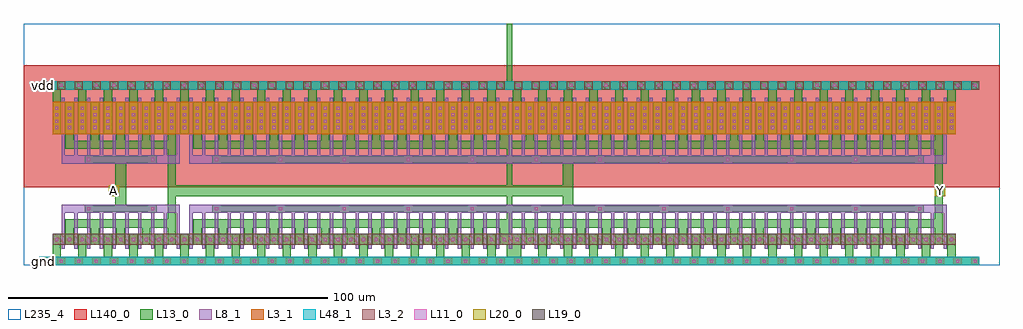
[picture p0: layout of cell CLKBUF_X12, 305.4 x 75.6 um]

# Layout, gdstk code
import gdstk
lib = gdstk.Library(unit=1e-6, precision=1e-09)
def R(c, l, rs):  # rectangles x0, y0, x1, y1
    for r in rs: c.add(gdstk.rectangle(r[:2], r[2:], *l))
def A(c, l, x, y, w, h, nx, ny, dx, dy):  # array of equal rectangles
    R(c, l, [(x+i*dx, y+j*dy, x+i*dx+w, y+j*dy+h) for i in range(nx) for j in range(ny)])
def P(c, l, *ps):  # polygons
    for p in ps: c.add(gdstk.Polygon(p, *l))
L3_1 = (3, 1)
L3_2 = (3, 2)
L8_1 = (8, 1)
L11_0 = (11, 0)
L13_0 = (13, 0)
L19_0 = (19, 0)
L20_0 = (20, 0)
L48_1 = (48, 1)
L140_0 = (140, 0)
L235_4 = (235, 4)

clkbuf_x12 = lib.new_cell('CLKBUF_X12')
A(clkbuf_x12, L3_1, 5, 0, 2.6, 2.6, 54, 1, 5.5, 0)
R(clkbuf_x12, L3_1, [(9.1,41,291.7,51.2)])
A(clkbuf_x12, L3_2, 5, 55, 2.6, 2.6, 54, 1, 5.5, 0)
R(clkbuf_x12, L3_2, [(9.1,6.4,291.7,9.8)])
P(clkbuf_x12, L8_1, [(11.9,5.2),(11.9,19),(48.9,19),(48.9,5.2),(47.9,5.2),(47.9,16.4),(44.9,16.4),(44.9,5.2),(43.9,5.2),(43.9,16.4),(40.9,16.4),(40.9,5.2),(39.9,5.2),(39.9,16.4),(36.9,16.4),(36.9,5.2),(35.9,5.2),(35.9,16.4),(32.9,16.4),(32.9,5.2),(31.9,5.2),(31.9,16.4),(28.9,16.4),(28.9,5.2),(27.9,5.2),(27.9,16.4),(24.9,16.4),(24.9,5.2),(23.9,5.2),(23.9,16.4),(20.9,16.4),(20.9,5.2),(19.9,5.2),(19.9,16.4),(16.9,16.4),(16.9,5.2),(15.9,5.2),(15.9,16.4),(12.9,16.4),(12.9,5.2)],
  [(51.9,5.2),(51.9,19),(288.9,19),(288.9,5.2),(287.9,5.2),(287.9,16.4),(284.9,16.4),(284.9,5.2),(283.9,5.2),(283.9,16.4),(280.9,16.4),(280.9,5.2),(279.9,5.2),(279.9,16.4),(276.9,16.4),(276.9,5.2),(275.9,5.2),(275.9,16.4),(272.9,16.4),(272.9,5.2),(271.9,5.2),(271.9,16.4),(268.9,16.4),(268.9,5.2),(267.9,5.2),(267.9,16.4),(264.9,16.4),(264.9,5.2),(263.9,5.2),(263.9,16.4),(260.9,16.4),(260.9,5.2),(259.9,5.2),(259.9,16.4),(256.9,16.4),(256.9,5.2),(255.9,5.2),(255.9,16.4),(252.9,16.4),(252.9,5.2),(251.9,5.2),(251.9,16.4),(248.9,16.4),(248.9,5.2),(247.9,5.2),(247.9,16.4),(244.9,16.4),(244.9,5.2),(243.9,5.2),(243.9,16.4),(240.9,16.4),(240.9,5.2),(239.9,5.2),(239.9,16.4),(236.9,16.4),(236.9,5.2),(235.9,5.2),(235.9,16.4),(232.9,16.4),(232.9,5.2),(231.9,5.2),(231.9,16.4),(228.9,16.4),(228.9,5.2),(227.9,5.2),(227.9,16.4),(224.9,16.4),(224.9,5.2),(223.9,5.2),(223.9,16.4),(220.9,16.4),(220.9,5.2),(219.9,5.2),(219.9,16.4),(216.9,16.4),(216.9,5.2),(215.9,5.2),(215.9,16.4),(212.9,16.4),(212.9,5.2),(211.9,5.2),(211.9,16.4),(208.9,16.4),(208.9,5.2),(207.9,5.2),(207.9,16.4),(204.9,16.4),(204.9,5.2),(203.9,5.2),(203.9,16.4),(200.9,16.4),(200.9,5.2),(199.9,5.2),(199.9,16.4),(196.9,16.4),(196.9,5.2),(195.9,5.2),(195.9,16.4),(192.9,16.4),(192.9,5.2),(191.9,5.2),(191.9,16.4),(188.9,16.4),(188.9,5.2),(187.9,5.2),(187.9,16.4),(184.9,16.4),(184.9,5.2),(183.9,5.2),(183.9,16.4),(180.9,16.4),(180.9,5.2),(179.9,5.2),(179.9,16.4),(176.9,16.4),(176.9,5.2),(175.9,5.2),(175.9,16.4),(172.9,16.4),(172.9,5.2),(171.9,5.2),(171.9,16.4),(168.9,16.4),(168.9,5.2),(167.9,5.2),(167.9,16.4),(164.9,16.4),(164.9,5.2),(163.9,5.2),(163.9,16.4),(160.9,16.4),(160.9,5.2),(159.9,5.2),(159.9,16.4),(156.9,16.4),(156.9,5.2),(155.9,5.2),(155.9,16.4),(152.9,16.4),(152.9,5.2),(151.9,5.2),(151.9,16.4),(148.9,16.4),(148.9,5.2),(147.9,5.2),(147.9,16.4),(144.9,16.4),(144.9,5.2),(143.9,5.2),(143.9,16.4),(140.9,16.4),(140.9,5.2),(139.9,5.2),(139.9,16.4),(136.9,16.4),(136.9,5.2),(135.9,5.2),(135.9,16.4),(132.9,16.4),(132.9,5.2),(131.9,5.2),(131.9,16.4),(128.9,16.4),(128.9,5.2),(127.9,5.2),(127.9,16.4),(124.9,16.4),(124.9,5.2),(123.9,5.2),(123.9,16.4),(120.9,16.4),(120.9,5.2),(119.9,5.2),(119.9,16.4),(116.9,16.4),(116.9,5.2),(115.9,5.2),(115.9,16.4),(112.9,16.4),(112.9,5.2),(111.9,5.2),(111.9,16.4),(108.9,16.4),(108.9,5.2),(107.9,5.2),(107.9,16.4),(104.9,16.4),(104.9,5.2),(103.9,5.2),(103.9,16.4),(100.9,16.4),(100.9,5.2),(99.9,5.2),(99.9,16.4),(96.9,16.4),(96.9,5.2),(95.9,5.2),(95.9,16.4),(92.9,16.4),(92.9,5.2),(91.9,5.2),(91.9,16.4),(88.9,16.4),(88.9,5.2),(87.9,5.2),(87.9,16.4),(84.9,16.4),(84.9,5.2),(83.9,5.2),(83.9,16.4),(80.9,16.4),(80.9,5.2),(79.9,5.2),(79.9,16.4),(76.9,16.4),(76.9,5.2),(75.9,5.2),(75.9,16.4),(72.9,16.4),(72.9,5.2),(71.9,5.2),(71.9,16.4),(68.9,16.4),(68.9,5.2),(67.9,5.2),(67.9,16.4),(64.9,16.4),(64.9,5.2),(63.9,5.2),(63.9,16.4),(60.9,16.4),(60.9,5.2),(59.9,5.2),(59.9,16.4),(56.9,16.4),(56.9,5.2),(55.9,5.2),(55.9,16.4),(52.9,16.4),(52.9,5.2)],
  [(11.9,31.8),(11.9,52.4),(12.9,52.4),(12.9,34.4),(15.9,34.4),(15.9,52.4),(16.9,52.4),(16.9,34.4),(19.9,34.4),(19.9,52.4),(20.9,52.4),(20.9,34.4),(23.9,34.4),(23.9,52.4),(24.9,52.4),(24.9,34.4),(27.9,34.4),(27.9,52.4),(28.9,52.4),(28.9,34.4),(31.9,34.4),(31.9,52.4),(32.9,52.4),(32.9,34.4),(35.9,34.4),(35.9,52.4),(36.9,52.4),(36.9,34.4),(39.9,34.4),(39.9,52.4),(40.9,52.4),(40.9,34.4),(43.9,34.4),(43.9,52.4),(44.9,52.4),(44.9,34.4),(47.9,34.4),(47.9,52.4),(48.9,52.4),(48.9,31.8)],
  [(51.9,31.8),(51.9,52.4),(52.9,52.4),(52.9,34.4),(55.9,34.4),(55.9,52.4),(56.9,52.4),(56.9,34.4),(59.9,34.4),(59.9,52.4),(60.9,52.4),(60.9,34.4),(63.9,34.4),(63.9,52.4),(64.9,52.4),(64.9,34.4),(67.9,34.4),(67.9,52.4),(68.9,52.4),(68.9,34.4),(71.9,34.4),(71.9,52.4),(72.9,52.4),(72.9,34.4),(75.9,34.4),(75.9,52.4),(76.9,52.4),(76.9,34.4),(79.9,34.4),(79.9,52.4),(80.9,52.4),(80.9,34.4),(83.9,34.4),(83.9,52.4),(84.9,52.4),(84.9,34.4),(87.9,34.4),(87.9,52.4),(88.9,52.4),(88.9,34.4),(91.9,34.4),(91.9,52.4),(92.9,52.4),(92.9,34.4),(95.9,34.4),(95.9,52.4),(96.9,52.4),(96.9,34.4),(99.9,34.4),(99.9,52.4),(100.9,52.4),(100.9,34.4),(103.9,34.4),(103.9,52.4),(104.9,52.4),(104.9,34.4),(107.9,34.4),(107.9,52.4),(108.9,52.4),(108.9,34.4),(111.9,34.4),(111.9,52.4),(112.9,52.4),(112.9,34.4),(115.9,34.4),(115.9,52.4),(116.9,52.4),(116.9,34.4),(119.9,34.4),(119.9,52.4),(120.9,52.4),(120.9,34.4),(123.9,34.4),(123.9,52.4),(124.9,52.4),(124.9,34.4),(127.9,34.4),(127.9,52.4),(128.9,52.4),(128.9,34.4),(131.9,34.4),(131.9,52.4),(132.9,52.4),(132.9,34.4),(135.9,34.4),(135.9,52.4),(136.9,52.4),(136.9,34.4),(139.9,34.4),(139.9,52.4),(140.9,52.4),(140.9,34.4),(143.9,34.4),(143.9,52.4),(144.9,52.4),(144.9,34.4),(147.9,34.4),(147.9,52.4),(148.9,52.4),(148.9,34.4),(151.9,34.4),(151.9,52.4),(152.9,52.4),(152.9,34.4),(155.9,34.4),(155.9,52.4),(156.9,52.4),(156.9,34.4),(159.9,34.4),(159.9,52.4),(160.9,52.4),(160.9,34.4),(163.9,34.4),(163.9,52.4),(164.9,52.4),(164.9,34.4),(167.9,34.4),(167.9,52.4),(168.9,52.4),(168.9,34.4),(171.9,34.4),(171.9,52.4),(172.9,52.4),(172.9,34.4),(175.9,34.4),(175.9,52.4),(176.9,52.4),(176.9,34.4),(179.9,34.4),(179.9,52.4),(180.9,52.4),(180.9,34.4),(183.9,34.4),(183.9,52.4),(184.9,52.4),(184.9,34.4),(187.9,34.4),(187.9,52.4),(188.9,52.4),(188.9,34.4),(191.9,34.4),(191.9,52.4),(192.9,52.4),(192.9,34.4),(195.9,34.4),(195.9,52.4),(196.9,52.4),(196.9,34.4),(199.9,34.4),(199.9,52.4),(200.9,52.4),(200.9,34.4),(203.9,34.4),(203.9,52.4),(204.9,52.4),(204.9,34.4),(207.9,34.4),(207.9,52.4),(208.9,52.4),(208.9,34.4),(211.9,34.4),(211.9,52.4),(212.9,52.4),(212.9,34.4),(215.9,34.4),(215.9,52.4),(216.9,52.4),(216.9,34.4),(219.9,34.4),(219.9,52.4),(220.9,52.4),(220.9,34.4),(223.9,34.4),(223.9,52.4),(224.9,52.4),(224.9,34.4),(227.9,34.4),(227.9,52.4),(228.9,52.4),(228.9,34.4),(231.9,34.4),(231.9,52.4),(232.9,52.4),(232.9,34.4),(235.9,34.4),(235.9,52.4),(236.9,52.4),(236.9,34.4),(239.9,34.4),(239.9,52.4),(240.9,52.4),(240.9,34.4),(243.9,34.4),(243.9,52.4),(244.9,52.4),(244.9,34.4),(247.9,34.4),(247.9,52.4),(248.9,52.4),(248.9,34.4),(251.9,34.4),(251.9,52.4),(252.9,52.4),(252.9,34.4),(255.9,34.4),(255.9,52.4),(256.9,52.4),(256.9,34.4),(259.9,34.4),(259.9,52.4),(260.9,52.4),(260.9,34.4),(263.9,34.4),(263.9,52.4),(264.9,52.4),(264.9,34.4),(267.9,34.4),(267.9,52.4),(268.9,52.4),(268.9,34.4),(271.9,34.4),(271.9,52.4),(272.9,52.4),(272.9,34.4),(275.9,34.4),(275.9,52.4),(276.9,52.4),(276.9,34.4),(279.9,34.4),(279.9,52.4),(280.9,52.4),(280.9,34.4),(283.9,34.4),(283.9,52.4),(284.9,52.4),(284.9,34.4),(287.9,34.4),(287.9,52.4),(288.9,52.4),(288.9,31.8)])
A(clkbuf_x12, L11_0, 275.3, 0.8, 1, 1, 5, 1, 5.5, 0)
A(clkbuf_x12, L11_0, 9.9, 7.6, 1, 1, 11, 2, 4, 35)
A(clkbuf_x12, L11_0, 49.9, 7.6, 1, 1, 61, 2, 4, 35)
A(clkbuf_x12, L11_0, 79.9, 17.2, 1, 1, 11, 1, 20, 0)
A(clkbuf_x12, L11_0, 19.9, 32.6, 1, 1, 9, 1, 20, 0)
A(clkbuf_x12, L11_0, 199.9, 32.6, 1, 1, 5, 1, 20, 0)
A(clkbuf_x12, L11_0, 9.9, 44.6, 1, 1, 11, 3, 4, 2)
A(clkbuf_x12, L11_0, 49.9, 44.6, 1, 1, 61, 3, 4, 2)
A(clkbuf_x12, L11_0, 5.8, 55.8, 1, 1, 54, 1, 5.5, 0)
R(clkbuf_x12, L11_0, [(5.8,0.8,6.8,1.8), (5.8,0.8,6.8,1.8), (11.3,0.8,12.3,1.8), (11.3,0.8,12.3,1.8), (16.8,0.8,17.8,1.8), (16.8,0.8,17.8,1.8), (22.3,0.8,23.3,1.8), (22.3,0.8,23.3,1.8), (27.8,0.8,28.8,1.8), (27.8,0.8,28.8,1.8), (33.3,0.8,34.3,1.8), (33.3,0.8,34.3,1.8), (38.8,0.8,39.8,1.8), (38.8,0.8,39.8,1.8), (44.3,0.8,45.3,1.8), (44.3,0.8,45.3,1.8), (49.8,0.8,50.8,1.8), (49.8,0.8,50.8,1.8), (55.3,0.8,56.3,1.8), (55.3,0.8,56.3,1.8), (60.8,0.8,61.8,1.8), (60.8,0.8,61.8,1.8), (66.3,0.8,67.3,1.8), (66.3,0.8,67.3,1.8), (71.8,0.8,72.8,1.8), (71.8,0.8,72.8,1.8), (77.3,0.8,78.3,1.8), (77.3,0.8,78.3,1.8), (82.8,0.8,83.8,1.8), (82.8,0.8,83.8,1.8), (88.3,0.8,89.3,1.8), (88.3,0.8,89.3,1.8), (93.8,0.8,94.8,1.8), (93.8,0.8,94.8,1.8), (99.3,0.8,100.3,1.8), (99.3,0.8,100.3,1.8), (104.8,0.8,105.8,1.8), (104.8,0.8,105.8,1.8), (110.3,0.8,111.3,1.8), (110.3,0.8,111.3,1.8), (115.8,0.8,116.8,1.8), (115.8,0.8,116.8,1.8), (121.3,0.8,122.3,1.8), (121.3,0.8,122.3,1.8), (126.8,0.8,127.8,1.8), (126.8,0.8,127.8,1.8), (132.3,0.8,133.3,1.8), (132.3,0.8,133.3,1.8), (137.8,0.8,138.8,1.8), (137.8,0.8,138.8,1.8), (143.3,0.8,144.3,1.8), (143.3,0.8,144.3,1.8), (148.8,0.8,149.8,1.8), (148.8,0.8,149.8,1.8), (154.3,0.8,155.3,1.8), (154.3,0.8,155.3,1.8), (159.8,0.8,160.8,1.8), (159.8,0.8,160.8,1.8), (165.3,0.8,166.3,1.8), (165.3,0.8,166.3,1.8), (170.8,0.8,171.8,1.8), (170.8,0.8,171.8,1.8), (176.3,0.8,177.3,1.8), (176.3,0.8,177.3,1.8), (181.8,0.8,182.8,1.8), (181.8,0.8,182.8,1.8), (187.3,0.8,188.3,1.8), (187.3,0.8,188.3,1.8), (192.8,0.8,193.8,1.8), (192.8,0.8,193.8,1.8), (198.3,0.8,199.3,1.8), (198.3,0.8,199.3,1.8), (203.8,0.8,204.8,1.8), (203.8,0.8,204.8,1.8), (209.3,0.8,210.3,1.8), (209.3,0.8,210.3,1.8), (214.8,0.8,215.8,1.8), (214.8,0.8,215.8,1.8), (220.3,0.8,221.3,1.8), (220.3,0.8,221.3,1.8), (225.8,0.8,226.8,1.8), (225.8,0.8,226.8,1.8), (231.3,0.8,232.3,1.8), (231.3,0.8,232.3,1.8), (236.8,0.8,237.8,1.8), (236.8,0.8,237.8,1.8), (242.3,0.8,243.3,1.8), (242.3,0.8,243.3,1.8), (247.8,0.8,248.8,1.8), (247.8,0.8,248.8,1.8), (253.3,0.8,254.3,1.8), (253.3,0.8,254.3,1.8), (258.8,0.8,259.8,1.8), (258.8,0.8,259.8,1.8), (264.3,0.8,265.3,1.8), (264.3,0.8,265.3,1.8), (269.8,0.8,270.8,1.8), (269.8,0.8,270.8,1.8), (275.3,0.8,276.3,1.8), (19.9,17.2,20.9,18.2), (19.9,17.2,20.9,18.2), (39.9,17.2,40.9,18.2), (39.9,17.2,40.9,18.2), (59.9,17.2,60.9,18.2), (59.9,17.2,60.9,18.2), (79.9,17.2,80.9,18.2), (179.9,32.6,180.9,33.6), (199.9,32.6,200.9,33.6)])
P(clkbuf_x12, L13_0, [(19.1,16.4),(19.1,19),(21.7,19),(21.7,18.7),(28.7,18.7),(28.7,21.6),(26.6,21.6),(26.6,25),(28.7,25),(28.7,32.1),(21.7,32.1),(21.7,31.8),(19.1,31.8),(19.1,34.4),(21.7,34.4),(21.7,34.1),(39.1,34.1),(39.1,34.4),(41.7,34.4),(41.7,31.8),(39.1,31.8),(39.1,32.1),(32.1,32.1),(32.1,18.7),(39.1,18.7),(39.1,19),(41.7,19),(41.7,16.4),(39.1,16.4),(39.1,16.7),(21.7,16.7),(21.7,16.4)],
  [(5,0),(5,2.6),(9.1,2.6),(9.1,9.8),(11.7,9.8),(11.7,2.6),(17.1,2.6),(17.1,9.8),(19.7,9.8),(19.7,2.6),(25.1,2.6),(25.1,9.8),(27.7,9.8),(27.7,2.6),(33.1,2.6),(33.1,9.8),(35.7,9.8),(35.7,2.6),(41.1,2.6),(41.1,9.8),(43.7,9.8),(43.7,2.6),(49.1,2.6),(49.1,9.8),(51.7,9.8),(51.7,2.6),(57.1,2.6),(57.1,9.8),(59.7,9.8),(59.7,2.6),(65.1,2.6),(65.1,9.8),(67.7,9.8),(67.7,2.6),(73.1,2.6),(73.1,9.8),(75.7,9.8),(75.7,2.6),(81.1,2.6),(81.1,9.8),(83.7,9.8),(83.7,2.6),(89.1,2.6),(89.1,9.8),(91.7,9.8),(91.7,2.6),(97.1,2.6),(97.1,9.8),(99.7,9.8),(99.7,2.6),(105.1,2.6),(105.1,9.8),(107.7,9.8),(107.7,2.6),(113.1,2.6),(113.1,9.8),(115.7,9.8),(115.7,2.6),(121.1,2.6),(121.1,9.8),(123.7,9.8),(123.7,2.6),(129.1,2.6),(129.1,9.8),(131.7,9.8),(131.7,2.6),(137.1,2.6),(137.1,9.8),(139.7,9.8),(139.7,2.6),(145.1,2.6),(145.1,9.8),(147.7,9.8),(147.7,2.6),(151.15,2.6),(151.15,6.4),(149.1,6.4),(149.1,11.8),(143.7,11.8),(143.7,6.4),(141.1,6.4),(141.1,11.8),(135.7,11.8),(135.7,6.4),(133.1,6.4),(133.1,11.8),(127.7,11.8),(127.7,6.4),(125.1,6.4),(125.1,11.8),(119.7,11.8),(119.7,6.4),(117.1,6.4),(117.1,11.8),(111.7,11.8),(111.7,6.4),(109.1,6.4),(109.1,11.8),(103.7,11.8),(103.7,6.4),(101.1,6.4),(101.1,11.8),(95.7,11.8),(95.7,6.4),(93.1,6.4),(93.1,11.8),(87.7,11.8),(87.7,6.4),(85.1,6.4),(85.1,11.8),(79.7,11.8),(79.7,6.4),(77.1,6.4),(77.1,11.8),(71.7,11.8),(71.7,6.4),(69.1,6.4),(69.1,11.8),(63.7,11.8),(63.7,6.4),(61.1,6.4),(61.1,11.8),(55.7,11.8),(55.7,6.4),(53.1,6.4),(53.1,14.4),(151.15,14.4),(151.15,16.7),(141.7,16.7),(141.7,16.4),(139.1,16.4),(139.1,16.7),(121.7,16.7),(121.7,16.4),(119.1,16.4),(119.1,16.7),(101.7,16.7),(101.7,16.4),(99.1,16.4),(99.1,16.7),(81.7,16.7),(81.7,16.4),(79.1,16.4),(79.1,16.7),(61.7,16.7),(61.7,16.4),(59.1,16.4),(59.1,19),(61.7,19),(61.7,18.7),(79.1,18.7),(79.1,19),(81.7,19),(81.7,18.7),(99.1,18.7),(99.1,19),(101.7,19),(101.7,18.7),(119.1,18.7),(119.1,19),(121.7,19),(121.7,18.7),(139.1,18.7),(139.1,19),(141.7,19),(141.7,18.7),(151.15,18.7),(151.15,21.6),(47.7,21.6),(47.7,6.4),(45.1,6.4),(45.1,11.8),(39.7,11.8),(39.7,6.4),(37.1,6.4),(37.1,11.8),(31.7,11.8),(31.7,6.4),(29.1,6.4),(29.1,11.8),(23.7,11.8),(23.7,6.4),(21.1,6.4),(21.1,11.8),(15.7,11.8),(15.7,6.4),(13.1,6.4),(13.1,14.4),(45.1,14.4),(45.1,21.6),(152.95,21.6),(152.95,18.7),(159.1,18.7),(159.1,19),(161.7,19),(161.7,18.7),(168.7,18.7),(168.7,21.6),(45.1,21.6),(45.1,36.4),(13.1,36.4),(13.1,51.2),(15.7,51.2),(15.7,39),(21.1,39),(21.1,51.2),(23.7,51.2),(23.7,39),(29.1,39),(29.1,51.2),(31.7,51.2),(31.7,39),(37.1,39),(37.1,51.2),(39.7,51.2),(39.7,39),(45.1,39),(45.1,51.2),(47.7,51.2),(47.7,25),(151.15,25),(151.15,32.1),(141.7,32.1),(141.7,31.8),(139.1,31.8),(139.1,32.1),(121.7,32.1),(121.7,31.8),(119.1,31.8),(119.1,32.1),(101.7,32.1),(101.7,31.8),(99.1,31.8),(99.1,32.1),(81.7,32.1),(81.7,31.8),(79.1,31.8),(79.1,32.1),(61.7,32.1),(61.7,31.8),(59.1,31.8),(59.1,32.1),(161.7,32.1),(161.7,31.8),(159.1,31.8),(159.1,32.1),(152.95,32.1),(152.95,25),(168.7,25),(168.7,32.1),(59.1,32.1),(59.1,34.4),(61.7,34.4),(61.7,34.1),(79.1,34.1),(79.1,34.4),(81.7,34.4),(81.7,34.1),(99.1,34.1),(99.1,34.4),(101.7,34.4),(101.7,34.1),(119.1,34.1),(119.1,34.4),(121.7,34.4),(121.7,34.1),(139.1,34.1),(139.1,34.4),(141.7,34.4),(141.7,34.1),(151.15,34.1),(151.15,36.4),(152.95,36.4),(152.95,34.1),(159.1,34.1),(159.1,34.4),(161.7,34.4),(161.7,34.1),(179.1,34.1),(179.1,34.4),(181.7,34.4),(181.7,34.1),(199.1,34.1),(199.1,34.4),(201.7,34.4),(201.7,34.1),(219.1,34.1),(219.1,34.4),(221.7,34.4),(221.7,34.1),(239.1,34.1),(239.1,34.4),(241.7,34.4),(241.7,34.1),(259.1,34.1),(259.1,34.4),(261.7,34.4),(261.7,34.1),(279.1,34.1),(279.1,34.4),(281.7,34.4),(281.7,31.8),(279.1,31.8),(279.1,32.1),(261.7,32.1),(261.7,31.8),(259.1,31.8),(259.1,32.1),(241.7,32.1),(241.7,31.8),(239.1,31.8),(239.1,32.1),(221.7,32.1),(221.7,31.8),(219.1,31.8),(219.1,32.1),(201.7,32.1),(201.7,31.8),(199.1,31.8),(199.1,32.1),(181.7,32.1),(181.7,31.8),(179.1,31.8),(179.1,32.1),(172.1,32.1),(172.1,18.7),(179.1,18.7),(179.1,19),(181.7,19),(181.7,18.7),(199.1,18.7),(199.1,19),(201.7,19),(201.7,18.7),(219.1,18.7),(219.1,19),(221.7,19),(221.7,18.7),(239.1,18.7),(239.1,19),(241.7,19),(241.7,18.7),(259.1,18.7),(259.1,19),(261.7,19),(261.7,18.7),(279.1,18.7),(279.1,19),(281.7,19),(281.7,16.4),(279.1,16.4),(279.1,16.7),(261.7,16.7),(261.7,16.4),(259.1,16.4),(259.1,16.7),(241.7,16.7),(241.7,16.4),(239.1,16.4),(239.1,16.7),(221.7,16.7),(221.7,16.4),(219.1,16.4),(219.1,16.7),(201.7,16.7),(201.7,16.4),(199.1,16.4),(199.1,16.7),(181.7,16.7),(181.7,16.4),(179.1,16.4),(179.1,16.7),(161.7,16.7),(161.7,16.4),(159.1,16.4),(159.1,16.7),(152.95,16.7),(152.95,14.4),(285.1,14.4),(285.1,36.4),(53.1,36.4),(53.1,51.2),(55.7,51.2),(55.7,39),(61.1,39),(61.1,51.2),(63.7,51.2),(63.7,39),(69.1,39),(69.1,51.2),(71.7,51.2),(71.7,39),(77.1,39),(77.1,51.2),(79.7,51.2),(79.7,39),(85.1,39),(85.1,51.2),(87.7,51.2),(87.7,39),(93.1,39),(93.1,51.2),(95.7,51.2),(95.7,39),(101.1,39),(101.1,51.2),(103.7,51.2),(103.7,39),(109.1,39),(109.1,51.2),(111.7,51.2),(111.7,39),(117.1,39),(117.1,51.2),(119.7,51.2),(119.7,39),(125.1,39),(125.1,51.2),(127.7,51.2),(127.7,39),(133.1,39),(133.1,51.2),(135.7,51.2),(135.7,39),(141.1,39),(141.1,51.2),(143.7,51.2),(143.7,39),(149.1,39),(149.1,51.2),(151.7,51.2),(151.7,41),(152.95,41),(152.95,39),(157.1,39),(157.1,51.2),(159.7,51.2),(159.7,39),(165.1,39),(165.1,51.2),(167.7,51.2),(167.7,39),(173.1,39),(173.1,51.2),(175.7,51.2),(175.7,39),(181.1,39),(181.1,51.2),(183.7,51.2),(183.7,39),(189.1,39),(189.1,51.2),(191.7,51.2),(191.7,39),(197.1,39),(197.1,51.2),(199.7,51.2),(199.7,39),(205.1,39),(205.1,51.2),(207.7,51.2),(207.7,39),(213.1,39),(213.1,51.2),(215.7,51.2),(215.7,39),(221.1,39),(221.1,51.2),(223.7,51.2),(223.7,39),(229.1,39),(229.1,51.2),(231.7,51.2),(231.7,39),(237.1,39),(237.1,51.2),(239.7,51.2),(239.7,39),(245.1,39),(245.1,51.2),(247.7,51.2),(247.7,39),(253.1,39),(253.1,51.2),(255.7,51.2),(255.7,39),(261.1,39),(261.1,51.2),(263.7,51.2),(263.7,39),(269.1,39),(269.1,51.2),(271.7,51.2),(271.7,39),(277.1,39),(277.1,51.2),(279.7,51.2),(279.7,39),(285.1,39),(285.1,51.2),(287.7,51.2),(287.7,25),(288.5,25),(288.5,21.6),(287.7,21.6),(287.7,6.4),(285.1,6.4),(285.1,11.8),(279.7,11.8),(279.7,6.4),(277.1,6.4),(277.1,11.8),(271.7,11.8),(271.7,6.4),(269.1,6.4),(269.1,11.8),(263.7,11.8),(263.7,6.4),(261.1,6.4),(261.1,11.8),(255.7,11.8),(255.7,6.4),(253.1,6.4),(253.1,11.8),(247.7,11.8),(247.7,6.4),(245.1,6.4),(245.1,11.8),(239.7,11.8),(239.7,6.4),(237.1,6.4),(237.1,11.8),(231.7,11.8),(231.7,6.4),(229.1,6.4),(229.1,11.8),(223.7,11.8),(223.7,6.4),(221.1,6.4),(221.1,11.8),(215.7,11.8),(215.7,6.4),(213.1,6.4),(213.1,11.8),(207.7,11.8),(207.7,6.4),(205.1,6.4),(205.1,11.8),(199.7,11.8),(199.7,6.4),(197.1,6.4),(197.1,11.8),(191.7,11.8),(191.7,6.4),(189.1,6.4),(189.1,11.8),(183.7,11.8),(183.7,6.4),(181.1,6.4),(181.1,11.8),(175.7,11.8),(175.7,6.4),(173.1,6.4),(173.1,11.8),(167.7,11.8),(167.7,6.4),(165.1,6.4),(165.1,11.8),(159.7,11.8),(159.7,6.4),(157.1,6.4),(157.1,11.8),(152.95,11.8),(152.95,2.6),(153.1,2.6),(153.1,9.8),(155.7,9.8),(155.7,2.6),(161.1,2.6),(161.1,9.8),(163.7,9.8),(163.7,2.6),(169.1,2.6),(169.1,9.8),(171.7,9.8),(171.7,2.6),(177.1,2.6),(177.1,9.8),(179.7,9.8),(179.7,2.6),(185.1,2.6),(185.1,9.8),(187.7,9.8),(187.7,2.6),(193.1,2.6),(193.1,9.8),(195.7,9.8),(195.7,2.6),(201.1,2.6),(201.1,9.8),(203.7,9.8),(203.7,2.6),(209.1,2.6),(209.1,9.8),(211.7,9.8),(211.7,2.6),(217.1,2.6),(217.1,9.8),(219.7,9.8),(219.7,2.6),(225.1,2.6),(225.1,9.8),(227.7,9.8),(227.7,2.6),(233.1,2.6),(233.1,9.8),(235.7,9.8),(235.7,2.6),(241.1,2.6),(241.1,9.8),(243.7,9.8),(243.7,2.6),(249.1,2.6),(249.1,9.8),(251.7,9.8),(251.7,2.6),(257.1,2.6),(257.1,9.8),(259.7,9.8),(259.7,2.6),(265.1,2.6),(265.1,9.8),(267.7,9.8),(267.7,2.6),(273.1,2.6),(273.1,9.8),(275.7,9.8),(275.7,2.6),(281.1,2.6),(281.1,9.8),(283.7,9.8),(283.7,2.6),(289.1,2.6),(289.1,9.8),(291.7,9.8),(291.7,2.6),(299.1,2.6),(299.1,0)],
  [(9.1,41),(9.1,55),(5,55),(5,57.6),(151.15,57.6),(151.15,75.6),(152.95,75.6),(152.95,57.6),(299.1,57.6),(299.1,55),(291.7,55),(291.7,41),(289.1,41),(289.1,55),(283.7,55),(283.7,41),(281.1,41),(281.1,55),(275.7,55),(275.7,41),(273.1,41),(273.1,55),(267.7,55),(267.7,41),(265.1,41),(265.1,55),(259.7,55),(259.7,41),(257.1,41),(257.1,55),(251.7,55),(251.7,41),(249.1,41),(249.1,55),(243.7,55),(243.7,41),(241.1,41),(241.1,55),(235.7,55),(235.7,41),(233.1,41),(233.1,55),(227.7,55),(227.7,41),(225.1,41),(225.1,55),(219.7,55),(219.7,41),(217.1,41),(217.1,55),(211.7,55),(211.7,41),(209.1,41),(209.1,55),(203.7,55),(203.7,41),(201.1,41),(201.1,55),(195.7,55),(195.7,41),(193.1,41),(193.1,55),(187.7,55),(187.7,41),(185.1,41),(185.1,55),(179.7,55),(179.7,41),(177.1,41),(177.1,55),(171.7,55),(171.7,41),(169.1,41),(169.1,55),(163.7,55),(163.7,41),(161.1,41),(161.1,55),(155.7,55),(155.7,41),(153.1,41),(153.1,55),(147.7,55),(147.7,41),(145.1,41),(145.1,55),(139.7,55),(139.7,41),(137.1,41),(137.1,55),(131.7,55),(131.7,41),(129.1,41),(129.1,55),(123.7,55),(123.7,41),(121.1,41),(121.1,55),(115.7,55),(115.7,41),(113.1,41),(113.1,55),(107.7,55),(107.7,41),(105.1,41),(105.1,55),(99.7,55),(99.7,41),(97.1,41),(97.1,55),(91.7,55),(91.7,41),(89.1,41),(89.1,55),(83.7,55),(83.7,41),(81.1,41),(81.1,55),(75.7,55),(75.7,41),(73.1,41),(73.1,55),(67.7,55),(67.7,41),(65.1,41),(65.1,55),(59.7,55),(59.7,41),(57.1,41),(57.1,55),(51.7,55),(51.7,41),(49.1,41),(49.1,55),(43.7,55),(43.7,41),(41.1,41),(41.1,55),(35.7,55),(35.7,41),(33.1,41),(33.1,55),(27.7,55),(27.7,41),(25.1,41),(25.1,55),(19.7,55),(19.7,41),(17.1,41),(17.1,55),(11.7,55),(11.7,41)])
R(clkbuf_x12, L19_0, [(27.6,22.6,29,24), (286.1,22.6,287.5,24)])
R(clkbuf_x12, L20_0, [(26.6,21.6,30,25), (285.1,21.6,288.5,25)])
R(clkbuf_x12, L48_1, [(5,0,299.1,2.6), (27.4,22.4,29.2,24.2), (285.9,22.4,287.7,24.2), (5,55,299.1,57.6)])
R(clkbuf_x12, L140_0, [(0,24.5,305.4,62.6)])
R(clkbuf_x12, L235_4, [(0,0,305.4,75.6)])
clkbuf_x12.add(gdstk.Label('Y', (286.8,23.3), layer=48, texttype=0))
clkbuf_x12.add(gdstk.Label('vdd', (6.3,56.3), layer=48, texttype=0))
clkbuf_x12.add(gdstk.Label('gnd', (6.3,1.3), layer=48, texttype=0))
clkbuf_x12.add(gdstk.Label('A', (28.3,23.3), layer=48, texttype=0))
clkbuf_x12.add(gdstk.Label('A', (28.3,23.3), layer=49, texttype=0))
clkbuf_x12.add(gdstk.Label('Y', (286.8,23.3), layer=49, texttype=0))

lib.write_gds('CLKBUF_X12.gds')
